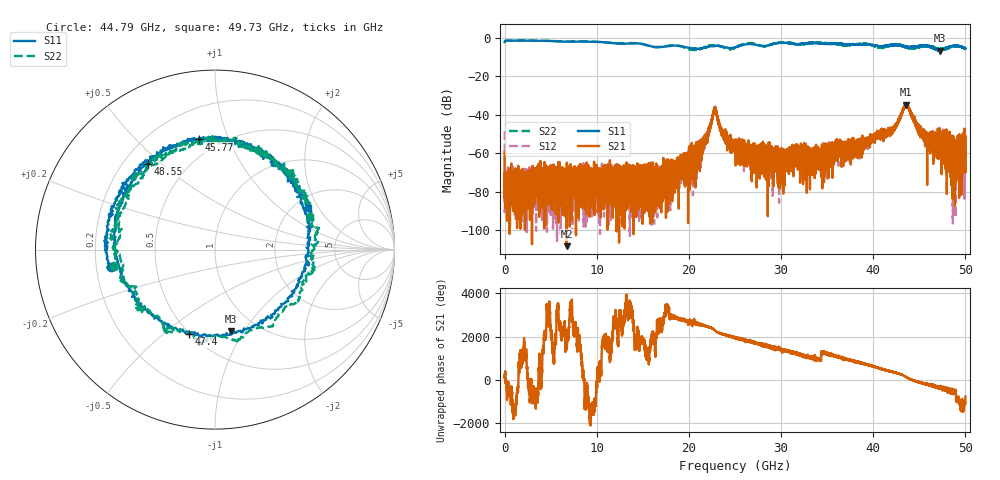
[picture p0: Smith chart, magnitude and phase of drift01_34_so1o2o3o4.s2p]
!Created with skrf (http://scikit-rf.org).
# Hz S RI R 50.0
!freq ReS11 ImS11 ReS21 ImS21 ReS12 ImS12 ReS22 ImS22
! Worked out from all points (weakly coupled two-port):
!   10001 points, 300 kHz to 50 GHz, reference 50 ohm
!   highest |S21| = -34.75 dB at 43.56 GHz (marker M1); lowest = -108.3 dB at 6.725 GHz (marker M2)
!   lowest |S11| = -6.7 dB at 47.22 GHz (marker M3), VSWR 2.72, Z = 38.1 - j44 ohm
!   |S11| at or under -10 dB: nowhere
!   |S22| runs from -6.4 to -1.4 dB; largest |S21 - S12| = 0.0036
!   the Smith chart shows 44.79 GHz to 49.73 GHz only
!   S11 on the Smith chart (normalised r, x): 44.79 GHz: 0.26, -0.08; 45.77 GHz: 0.39, +0.78; 47.4 GHz: 0.49, -0.62; 48.55 GHz: 0.30, +0.45; 49.73 GHz: 2.37, +1.60
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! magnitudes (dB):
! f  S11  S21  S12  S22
! 300 kHz  -2.1  -59.4  -48.5  -2.1
! 265.3 MHz  -1.4  -81.7  -83.7  -1.4
! 6.725 GHz  -2.0  -108.3  -72.9  -1.9
! 8.335 GHz  -2.0  -70.2  -88.0  -1.8
! 16.67 GHz  -4.8  -74.1  -78.5  -4.8
! 21.04 GHz  -5.7  -57.5  -59.7  -6.0
! 21.96 GHz  -4.8  -50.3  -52.0  -4.4
! 22.79 GHz  -4.3  -36.4  -36.1  -4.0
! 23.72 GHz  -4.6  -49.3  -50.2  -5.0
! 25 GHz  -5.0  -56.1  -56.5  -5.1
! 30.02 GHz  -2.6  -61.8  -72.1  -2.3
! 31.64 GHz  -3.3  -59.7  -59.3  -3.1
! 33.34 GHz  -2.6  -68.0  -63.2  -2.7
! 41.67 GHz  -3.9  -48.0  -48.8  -4.2
! 43.56 GHz  -5.1  -34.7  -35.2  -4.8
! 44.79 GHz  -4.6  -45.7  -45.2  -4.8
! 45.77 GHz  -4.1  -52.0  -52.6  -4.4
! 47.22 GHz  -6.7  -51.3  -49.6  -5.7
! 47.4 GHz  -6.1  -60.4  -53.0  -5.8
! 48.55 GHz  -4.3  -57.2  -63.0  -4.6
! 49.73 GHz  -5.0  -54.3  -58.9  -5.1
! 50 GHz  -5.5  -56.4  -67.7  -5.3
